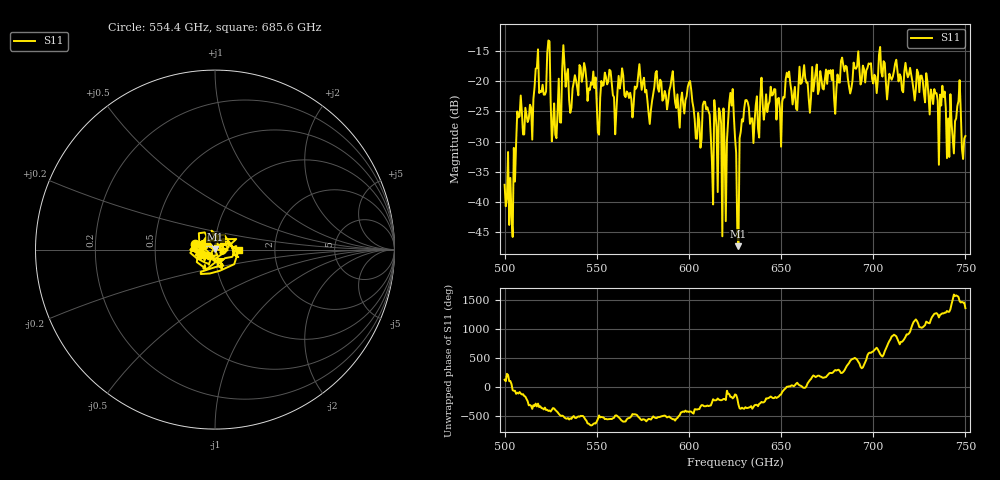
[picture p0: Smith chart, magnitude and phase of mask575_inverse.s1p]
!Created with skrf (http://scikit-rf.org).
# GHz S MA R 50.0
!freq magS11 angS11
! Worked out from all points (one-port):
!   401 points, 500 GHz to 750 GHz, reference 50 ohm
!   lowest |S11| = -47.3 dB at 626.9 GHz (marker M1), VSWR 1.01, Z = 50.3 + j0.349 ohm
!   |S11| at or under -10 dB: start of sweep to end of sweep
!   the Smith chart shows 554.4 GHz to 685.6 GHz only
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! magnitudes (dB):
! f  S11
! 500 GHz  -37.2
! 503.8 GHz  -42.4
! 508.1 GHz  -25.8
! 513.8 GHz  -23.9
! 516.9 GHz  -17.9
! 523.8 GHz  -13.2
! 526.9 GHz  -23.7
! 531.2 GHz  -17.9
! 542.5 GHz  -19.1
! 551.2 GHz  -28.9
! 562.5 GHz  -21.2
! 593.8 GHz  -22.2
! 600.6 GHz  -19.9
! 605.6 GHz  -26.7
! 609.4 GHz  -24.7
! 619.4 GHz  -30.8
! 623.1 GHz  -24.0
! 625 GHz  -29.3
! 626.9 GHz  -47.3
! 628.8 GHz  -26.3
! 631.2 GHz  -23.1
! 656.2 GHz  -23.8
! 687.5 GHz  -22.0
! 718.8 GHz  -19.3
! 737.5 GHz  -20.7
! 742.5 GHz  -27.0
! 746.2 GHz  -23.3
! 750 GHz  -29.1
